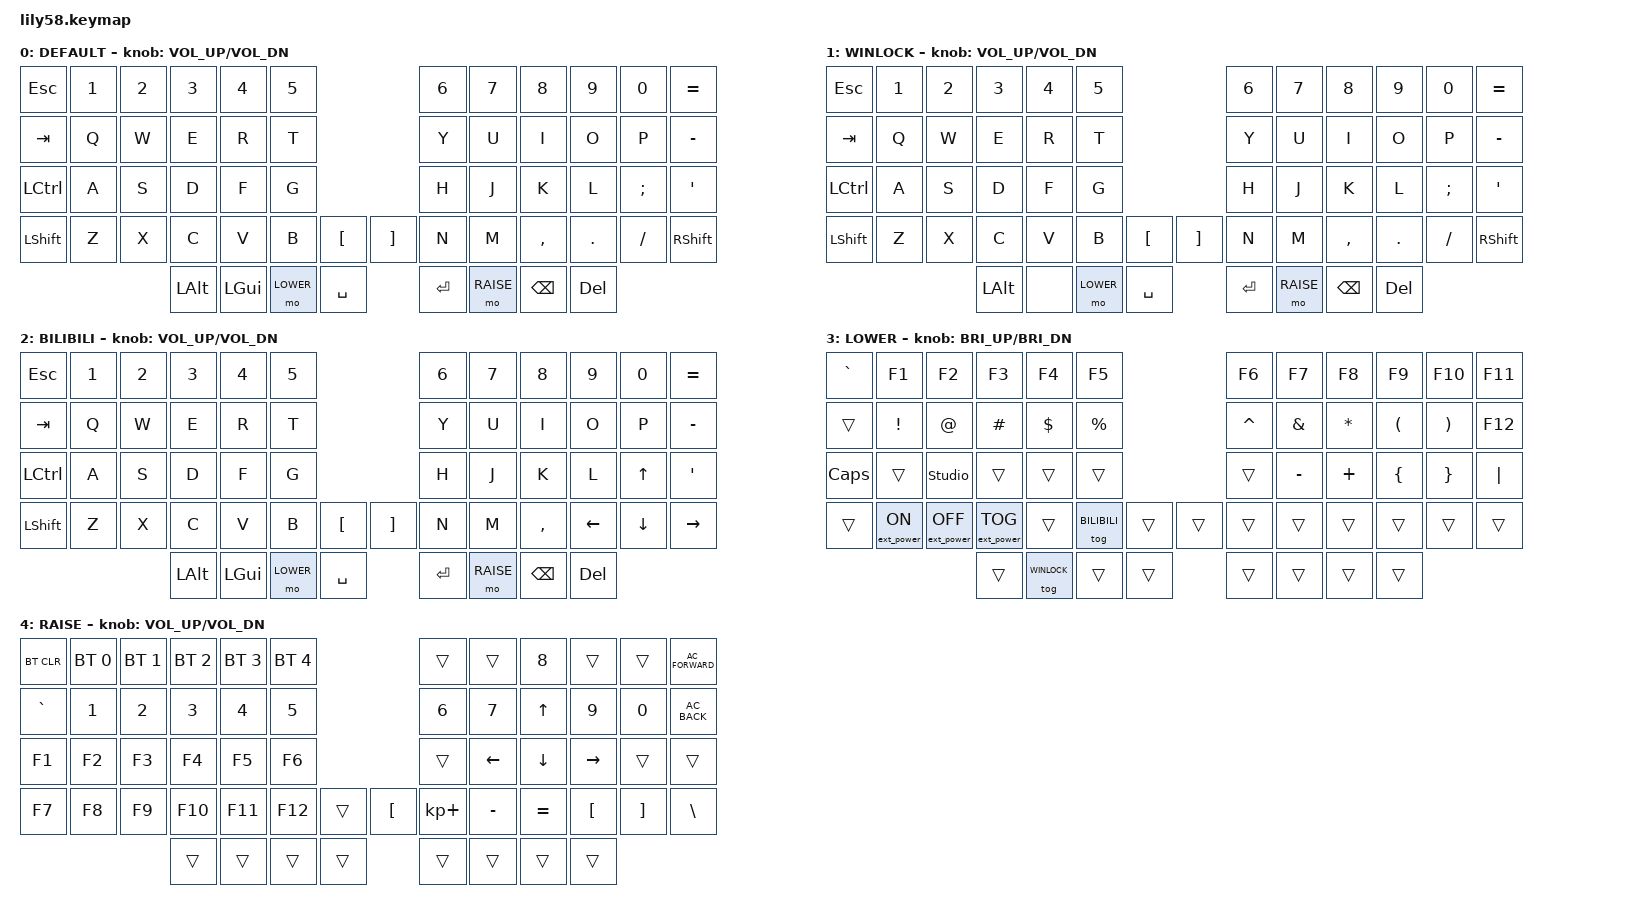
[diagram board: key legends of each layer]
/*
 * Copyright (c) 2020 The ZMK Contributors
 *
 * SPDX-License-Identifier: MIT
 */

#include <behaviors.dtsi>
#include <dt-bindings/zmk/keys.h>
#include <dt-bindings/zmk/bt.h>
#include <dt-bindings/zmk/ext_power.h>

#define DEFAULT 0
#define WINLOCK 1
#define BILIBILI 2
#define LOWER   3
#define RAISE   4

/ {
    keymap {
        compatible = "zmk,keymap";

        default_layer {
// ------------------------------------------------------------------------------------------------------------
// |  ESC  |  1  |  2  |  3   |  4   |  5   |                   |  6   |  7    |  8    |  9   |   0   |   =   |
// |  TAB  |  Q  |  W  |  E   |  R   |  T   |                   |  Y   |  U    |  I    |  O   |   P   |   -   |
// |  CTRL |  A  |  S  |  D   |  F   |  G   |                   |  H   |  J    |  K    |  L   |   ;   |   '   |
// | SHIFT |  Z  |  X  |  C   |  V   |  B   |  "["  |  |  "]"  |  N   |  M    |  ,    |  .   |   /   | SHIFT |
//                     | ALT  | GUI  | LOWER|  SPACE |  | ENTER | RAISE| BSPC  | DEL   |
            bindings = <
&kp ESC   &kp N1 &kp N2 &kp N3   &kp N4   &kp N5                     &kp N6 &kp N7   &kp N8    &kp N9  &kp N0   &kp EQUAL
&kp TAB   &kp Q  &kp W  &kp E    &kp R    &kp T                      &kp Y  &kp U    &kp I     &kp O   &kp P    &kp MINUS
&kp LCTRL &kp A  &kp S  &kp D    &kp F    &kp G                      &kp H  &kp J    &kp K     &kp L   &kp SEMI &kp SQT
&kp LSHFT &kp Z  &kp X  &kp C    &kp V    &kp B  &kp LBKT &kp RBKT &kp N  &kp M    &kp COMMA &kp DOT &kp FSLH &kp RSHFT
                        &kp LALT &kp LGUI &mo LOWER  &kp SPACE  &kp RET  &mo RAISE  &kp BSPC &kp DEL
            >;

            sensor-bindings = <&inc_dec_kp C_VOL_UP C_VOL_DN>;

            display-name = "DEFAULT";
        };

        win_lock_layer{
// ------------------------------------------------------------------------------------------------------------
// |  ESC  |  1  |  2  |  3   |  4   |  5   |                   |  6   |  7    |  8    |  9   |   0   |   =   |
// |  TAB  |  Q  |  W  |  E   |  R   |  T   |                   |  Y   |  U    |  I    |  O   |   P   |   -   |
// |  CTRL |  A  |  S  |  D   |  F   |  G   |                   |  H   |  J    |  K    |  L   |   ;   |   '   |
// | SHIFT |  Z  |  X  |  C   |  V   |  B   |  "["  |  |  "]"  |  N   |  M    |  ,    |  .   |   /   | SHIFT |
//                     | ALT  |      | LOWER|  SPACE |  | ENTER | RAISE| BSPC  | DEL   |
            bindings = <
&kp ESC   &kp N1 &kp N2 &kp N3   &kp N4   &kp N5                     &kp N6 &kp N7   &kp N8    &kp N9  &kp N0   &kp EQUAL
&kp TAB   &kp Q  &kp W  &kp E    &kp R    &kp T                      &kp Y  &kp U    &kp I     &kp O   &kp P    &kp MINUS
&kp LCTRL &kp A  &kp S  &kp D    &kp F    &kp G                      &kp H  &kp J    &kp K     &kp L   &kp SEMI &kp SQT
&kp LSHFT &kp Z  &kp X  &kp C    &kp V    &kp B  &kp LBKT &kp RBKT &kp N  &kp M    &kp COMMA &kp DOT &kp FSLH &kp RSHFT
                        &kp LALT &none    &mo LOWER  &kp SPACE  &kp RET  &mo RAISE  &kp BSPC &kp DEL
            >;

            sensor-bindings = <&inc_dec_kp C_VOL_UP C_VOL_DN>;

            display-name = "WINLOCK";
        };

        bilibili_layer{
// ------------------------------------------------------------------------------------------------------------
// |  ESC  |  1  |  2  |  3   |  4   |  5   |                   |  6   |  7    |  8    |  9   |   0   |   =   |
// |  TAB  |  Q  |  W  |  E   |  R   |  T   |                   |  Y   |  U    |  I    |  O   |   P   |   -   |
// |  CTRL |  A  |  S  |  D   |  F   |  G   |                   |  H   |  J    |  K    |  L   |   ^   |   '   |
// | SHIFT |  Z  |  X  |  C   |  V   |  B   |  "["   |  |  "]"  |  N   |  M    |  ,    |  <-  |   v   |  ->   |
//                     | ALT  |  GUI | LOWER|  SPACE |  | ENTER | RAISE| BSPC  | DEL   |
            bindings = <
&kp ESC   &kp N1 &kp N2 &kp N3   &kp N4   &kp N5                     &kp N6 &kp N7   &kp N8    &kp N9   &kp N0   &kp EQUAL
&kp TAB   &kp Q  &kp W  &kp E    &kp R    &kp T                      &kp Y  &kp U    &kp I     &kp O    &kp P    &kp MINUS
&kp LCTRL &kp A  &kp S  &kp D    &kp F    &kp G                      &kp H  &kp J    &kp K     &kp L    &kp UP   &kp SQT
&kp LSHFT &kp Z  &kp X  &kp C    &kp V    &kp B  &kp LBKT &kp RBKT &kp N  &kp M    &kp COMMA &kp LEFT &kp DOWN &kp RIGHT
                        &kp LALT &kp LGUI    &mo LOWER  &kp SPACE  &kp RET  &mo RAISE  &kp BSPC &kp DEL
            >;

            sensor-bindings = <&inc_dec_kp C_VOL_UP C_VOL_DN>;

            display-name = "BILIBILI";
        };

        lower_layer {
// ------------------------------------------------------------------------------------------------------------
// |  `   |  F1  |  F2  |   F3  |  F4  |  F5  |                   |  F6  |  F7  |  F8  |  F9  |  F10  |  F11  |
// |      |  !   |  @   |   #   |  $   |  %   |                   |  ^   |  &   |  *   |  (   |   )   |  F12  |
// | CLCK |      | Z_S  |       |      |      |                   |      |  _   |  +   |  {   |   }   |  "|"  |
// |      |      |      |       |      |  BI  |        |  |       |      |      |      |      |       |       |
//                      |       |  WL  |      |        |  |       |      |      |      |
            bindings = <
&kp GRAVE  &kp F1            &kp F2             &kp F3             &kp F4        &kp F5                            &kp F6     &kp F7     &kp F8     &kp F9    &kp F10    &kp F11
&trans     &kp EXCL          &kp AT             &kp HASH           &kp DOLLAR    &kp PRCNT                         &kp CARET  &kp AMPS   &kp ASTRK  &kp LPAR  &kp RPAR   &kp F12
&kp CLCK   &trans            &studio_unlock     &trans             &trans        &trans                            &trans     &kp MINUS  &kp PLUS   &kp LBRC  &kp RBRC   &kp PIPE
&trans     &ext_power EP_ON  &ext_power EP_OFF  &ext_power EP_TOG  &trans        &tog BILIBILI  &trans   &trans    &trans     &trans     &trans     &trans    &trans     &trans
                                                &trans             &tog WINLOCK  &trans         &trans   &trans    &trans     &trans     &trans
            >;

            sensor-bindings = <&inc_dec_kp C_BRI_UP C_BRI_DN>;

            display-name = "LOWER";
        };

        raise_layer {
// ------------------------------------------------------------------------------------------------------------
// | BRCLR | BT1 | BT2 | BT3  | BT4  | BT5  |                   |      |       |   8   |      |       |  forward  |
// |   `   |  1  |  2  |  3   |  4   |  5   |                   |  6   |   7   |   ^   |  9   |   0   |  back     |
// |   F1  |  F2 |  F3 |  F4  |  F5  |  F6  |                   |      |   <-  |   v   |  ->  |       |           |
// |   F7  |  F8 |  F9 |  F10 |  F11 |  F12 |        |  |  "["  |  +   |   -   |   =   |  [   |   ]   |   \       |
//                     |      |      |      |        |  |       |      |       |       |
            bindings = <
&bt BT_CLR &bt BT_SEL 0 &bt BT_SEL 1 &bt BT_SEL 2  &bt BT_SEL 3  &bt BT_SEL 4                 &trans      &trans    &kp N8    &trans    &trans   &kp C_AC_FORWARD
&kp GRAVE  &kp N1       &kp N2       &kp N3        &kp N4        &kp N5                       &kp N6      &kp N7    &kp UP    &kp N9    &kp N0   &kp C_AC_BACK
&kp F1     &kp F2       &kp F3       &kp F4        &kp F5        &kp F6                       &trans      &kp LEFT  &kp DOWN  &kp RIGHT &trans   &trans
&kp F7     &kp F8       &kp F9       &kp F10       &kp F11       &kp F12   &trans   &kp LBKT  &kp KP_PLUS &kp MINUS &kp EQUAL &kp LBKT  &kp RBKT &kp BSLH
                                     &trans        &trans        &trans    &trans   &trans    &trans      &trans    &trans
            >;

            sensor-bindings = <&inc_dec_kp C_VOL_UP C_VOL_DN>;

            display-name = "RAISE";
        };

        
    };
};
